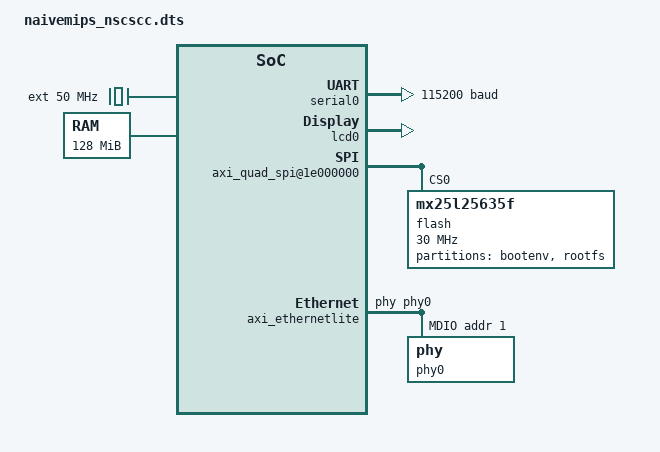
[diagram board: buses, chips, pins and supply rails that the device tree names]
/dts-v1/;

#include <dt-bindings/interrupt-controller/irq.h>

/ {
	compatible = "Tsinghua,NaiveMIPS,FPGA-A7";
	#address-cells = <1>;
	#size-cells = <1>;

	chosen {
		//bootargs = "cca=0 console=tty1 console=ttyS0,115200n8 rdinit=/bin/sh";
		bootargs = "cca=0 console=tty1 console=ttyS0,115200n8 rootfstype=squashfs root=/dev/mtdblock1";
	};

	cpus {
		#address-cells = <1>;
		#size-cells = <0>;
		cpu@0 {
			device_type = "cpu";
			compatible = "mips,4Kc";
			clocks	= <&ext>;
			reg = <0>;
		};
	};

	ext: ext {
		compatible = "fixed-clock";
		#clock-cells = <0>;
	};

	memory {
		device_type = "memory";
		reg = <0x0 0x8000000>;
	};

	cpuintc: interrupt-controller@0 {
		#address-cells = <0>;
		#interrupt-cells = <1>;
		interrupt-controller;
		compatible = "mti,cpu-interrupt-controller";
	};

	soc{
		compatible = "simple-bus";
		#address-cells = <1>;
		#size-cells = <1>;
		#interrupt-cells = <1>;
		ranges;

		serial0: serial@0xbfd03000 {
			device_type = "serial";
			compatible = "ns16550a";
			reg = <0x1fd03000 0x1000>;
			reg-io-width = <4>;
			reg-shift = <2>;
			current-speed = <115200>;
			clock-frequency = <100000000>;
			interrupt-parent = <&cpuintc>;
			interrupts = <4>;
		};

		lcd0: lcd@0x1c060000 {
			compatible = "lcd,naive";
			reg = <0x1c060000 0x1000>;
		};

		axi_quad_spi@1e000000 {
			#address-cells = <1>;
			#size-cells = <0>;
			compatible = "xlnx,xps-spi-2.00.a";
			interrupt-parent = <&cpuintc>;
			interrupts = <3>;
			reg = <0x1e000000 0x10000>;
			xlnx,num-ss-bits = <0x1>;
			num-cs = <0x1>;
			fifo-size = <256>;

			flash@0 {
				compatible = "mx25l25635f", "jedec,spi-nor";
				reg = <0x0>;
				spi-max-frequency = <30000000>;

				spi-rx-bus-width = <4>;
				m25p,fast-read;

				partitions {
					compatible = "fixed-partitions";
					#address-cells = <1>;
					#size-cells = <1>;

					partition@0 {
						label = "bootenv";
						reg = <0x0 0x10000>;
					};
					partition@10000 {
						label = "rootfs";
						reg = <0x10000 0x1ff0000>;
					};
					// partition@10000 {
					// 	label = "kernel";
					// 	reg = <0x10000 0x5f0000>;
					// };
					// partition@600000 {
					// 	label = "rootfs";
					// 	reg = <0x600000 0x1a00000>;
					// };
				};
			};
		};
		axi_intc_0: interrupt-controller@1c080000 {
			#interrupt-cells = <2>;
			compatible = "xlnx,xps-intc-1.00.a";
			interrupt-controller;
			interrupt-parent = <&cpuintc>;
			interrupts = <5>;
			reg = <0x1c080000 0x1000>;
			xlnx,kind-of-intr = <0x1>;
			xlnx,num-intr-inputs = <0x1>;
		};
		axi_tft_0: axi_tft@1c061000 {
			compatible = "xlnx,xps-tft-1.00.a";
			//interrupt-parent = <&axi_intc>;
			//interrupts = <1 0>;
			reg = <0x1c090000 0x1000>,
					<0x1c091000 0x1000>,
					<0x1c092000 0x1000>,
					<0x1fd0f028 0x4>;
			xlnx,dcr-splb-slave-if = <0x1>;
			resolution = <640 480>;
			virtual-resolution = <1024 480>;
			phys-size = <1024 512>;
			//rotate-display;
		};
		axi_ethernetlite: ethernet@1c030000 {
			compatible = "xlnx,xps-ethernetlite-3.00.a";
			device_type = "network";
			local-mac-address = [08 86 4C 0D F7 09];
			phy-handle = <&phy0>;
			reg = <0x1c030000 0x10000>;
			xlnx,duplex = <0x1>;
			xlnx,include-global-buffers = <0x1>;
			xlnx,include-internal-loopback = <0x0>;
			xlnx,include-mdio = <0x1>;
			xlnx,instance = "axi_ethernetlite_inst";
			xlnx,rx-ping-pong = <0x1>;
			xlnx,s-axi-id-width = <0x1>;
			xlnx,tx-ping-pong = <0x1>;
			xlnx,use-internal = <0x0>;
			interrupt-parent = <&axi_intc_0>;
			interrupts = <0 2>; //the 2nd value is not used
			mdio {
				#address-cells = <1>;
				#size-cells = <0>;
				phy0: phy@1 {
					device_type = "ethernet-phy";
					reg = <1>;
				} ;
			} ;
	    } ;
		ps2: ps2@0x1c062000 {
			compatible = "altr,ps2-1.0";
			reg = <0x1c062000 0x1000>;
			interrupt-parent = <&cpuintc>;
			interrupts = <6>;
		};
	};


};

&ext {
	clock-frequency = <50000000>;
};
